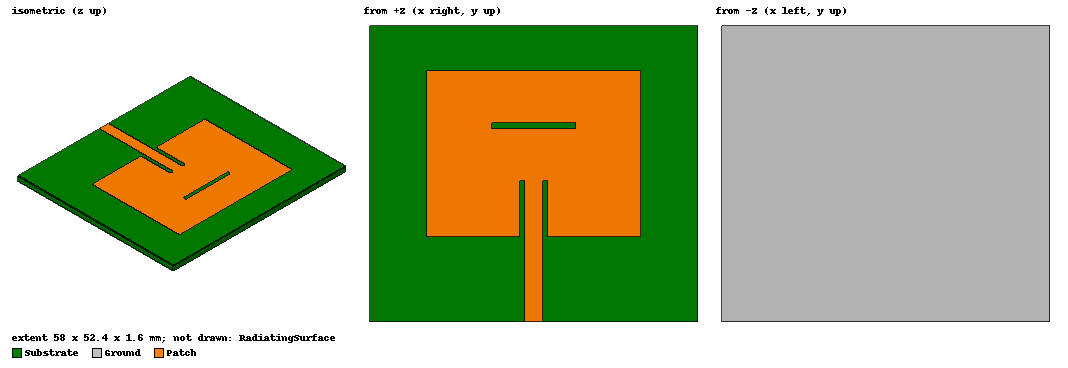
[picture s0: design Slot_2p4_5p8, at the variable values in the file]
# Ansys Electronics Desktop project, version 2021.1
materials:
  vacuum: permittivity=1
  FR4_epoxy: permittivity=4.4 dielectric_loss_tangent=0.02

design Slot_2p4_5p8 (HFSS, DrivenModal, model units mm)
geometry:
  Substrate [FR4_epoxy] = box(corner=(-29mm, -26.2mm, 0mm), size=(58mm, 52.4mm, 1.6mm))
  Ground = rectangle(corner=(-29mm, -26.2mm, 0mm), x_size=58mm, y_size=52.4mm)
  Patch = rectangle(corner=(-19mm, -11.2mm, 1.6mm), x_size=38mm, y_size=29.4mm)
  GapL = rectangle(corner=(-2.54mm, -11.7mm, 1.6mm), x_size=1mm, y_size=10.5mm)
  GapR = rectangle(corner=(1.54mm, -11.7mm, 1.6mm), x_size=1mm, y_size=10.5mm)
  Slot = rectangle(corner=(-7.5mm, 8mm, 1.6mm), x_size=15mm, y_size=1mm)
  Patch.subtract(GapL, GapR, Slot)
  Feed = rectangle(corner=(-1.54mm, -26.2mm, 1.6mm), x_size=3.08mm, y_size=15.5mm)
  Patch.unite(Feed)
  Port_Sheet = rectangle(corner=(-1.54mm, -26.2mm, 0mm), z_size=1.6mm, x_size=3.08mm)
  RadiatingSurface [vacuum] = region(absolute_offset=14.285714mm on all sides)
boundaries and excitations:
  Open1: Radiation Objects=RadiatingSurface
  PerfE1: Perfect E Objects=Ground
  PerfE2: Perfect E Objects=Patch
  1: Lumped Port Objects=Port_Sheet Modes{Mode1{IntLine{middle of Port_Sheet.edge(z at corner) -> middle of Port_Sheet.edge(z opposite corner)} CharImp=Zpi RenormImp=50ohm}} Impedance=50ohm
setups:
  Setup1: HfssDrivenAuto AutoSolverSetting=Balanced Type=Interpolating
    sweep Sweep: 1GHz to 7GHz, 101 points;
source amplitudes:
  1:1: 1W 0deg
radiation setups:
  3D: Infinite Sphere Theta=0deg..180deg step 2deg Phi=-180deg..180deg step 2deg
  Elevation: Infinite Sphere Theta=-180deg..180deg step 1deg Phi=0deg..90deg step 90deg
  Azimuth: Infinite Sphere Theta=90deg..90deg step 0deg Phi=-180deg..180deg step 1deg
  Infinite Sphere1: Infinite Sphere Theta=-180deg..180deg step 10deg Phi=0deg..360deg step 10deg
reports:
  S Parameter Plot 1: dB(S(1,1)) vs Freq on Setup1 : Sweep
  VSWR Plot 1: VSWR(1) vs Freq on Setup1 : Sweep
  Gain Plot 1: GainTotal vs Phi, Theta on Setup1 : LastAdaptive, 3D [Freq=4GHz]
  Gain Plot 2: GainTotal vs Phi, Theta on Setup1 : LastAdaptive, 3D [Freq=4GHz]
  Gain Plot 3: GainTotal vs Theta on Setup1 : LastAdaptive, 3D [Phi=all Freq=4GHz]
  Gain Plot 4: GainTotal vs Theta, Phi on Setup1 : LastAdaptive, 3D [Freq=4GHz]
